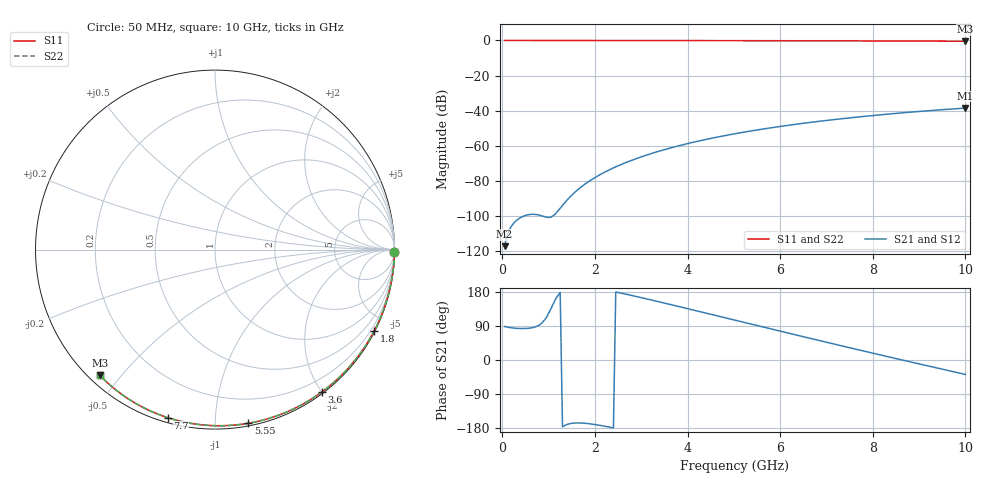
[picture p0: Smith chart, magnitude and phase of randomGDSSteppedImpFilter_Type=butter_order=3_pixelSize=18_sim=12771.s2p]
! freq	dB(S11)	phase(S11)	dB(S12)	phase(S12)
!  dB(S21)	phase(S21)	dB(S22)	phase(S22)
!S-par simulation data
#  GHz  S  DB  R 50
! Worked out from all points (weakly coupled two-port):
!   200 points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, 50 MHz to 10 GHz, reference 50 ohm
!   highest |S21| = -38.46 dB at 10 GHz (marker M1); lowest = -117.1 dB at 50 MHz (marker M2)
!   lowest |S11| = -0.4 dB at 10 GHz (marker M3), VSWR 39.00, Z = 1.53 - j22 ohm
!   |S11| at or under -10 dB: nowhere
!   |S22| runs from -0.4 to 0.0 dB; largest |S21 - S12| = 0
!   S11 on the Smith chart (normalised r, x): 50 MHz: open; 1.8 GHz: 0.04, -4.15; 3.6 GHz: 0.02, -2.01; 5.55 GHz: 0.02, -1.21; 7.7 GHz: 0.02, -0.76; 10 GHz: 0.03, -0.44
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0.05  -0.00 -0.8  -117.07 88.4  -117.07 88.4  -0.00 -0.8
0.9  -0.02 -13.7  -100.20 103.7  -100.20 103.7  -0.02 -13.7
1.75  -0.03 -26.4  -82.43 -166.7  -82.43 -166.7  -0.03 -26.4
1.8  -0.03 -27.1  -81.47 -167.2  -81.47 -167.2  -0.03 -27.1
1.85  -0.04 -27.8  -80.56 -167.8  -80.56 -167.8  -0.04 -27.8
1.9  -0.04 -28.6  -79.69 -168.6  -79.69 -168.6  -0.04 -28.6
2.05  -0.04 -30.8  -77.27 -171.3  -77.27 -171.3  -0.04 -30.8
2.25  -0.04 -33.7  -74.43 -175.6  -74.43 -175.6  -0.04 -33.7
2.45  -0.05 -36.6  -71.93 179.5  -71.93 179.5  -0.05 -36.6
2.65  -0.05 -39.5  -69.68 174.3  -69.68 174.3  -0.05 -39.5
3  -0.06 -44.5  -66.25 164.6  -66.25 164.6  -0.06 -44.5
3.4  -0.07 -50.2  -62.90 153.2  -62.90 153.2  -0.07 -50.2
3.6  -0.07 -53.0  -61.40 147.4  -61.40 147.4  -0.07 -53.0
4.3  -0.09 -62.6  -56.88 126.7  -56.88 126.7  -0.09 -62.6
5.05  -0.11 -72.7  -52.96 104.3  -52.96 104.3  -0.11 -72.7
5.55  -0.13 -79.2  -50.73 89.5  -50.73 89.5  -0.13 -79.2
6.1  -0.15 -86.2  -48.56 73.2  -48.56 73.2  -0.15 -86.2
6.7  -0.18 -93.6  -46.47 55.6  -46.47 55.6  -0.18 -93.6
7.7  -0.24 -105.7  -43.50 26.6  -43.50 26.6  -0.24 -105.7
8.35  -0.29 -113.4  -41.86 8.0  -41.86 8.0  -0.29 -113.4
9.15  -0.36 -122.7  -40.08 -14.5  -40.08 -14.5  -0.36 -122.7
10  -0.45 -132.4  -38.46 -38.0  -38.46 -38.0  -0.45 -132.4
